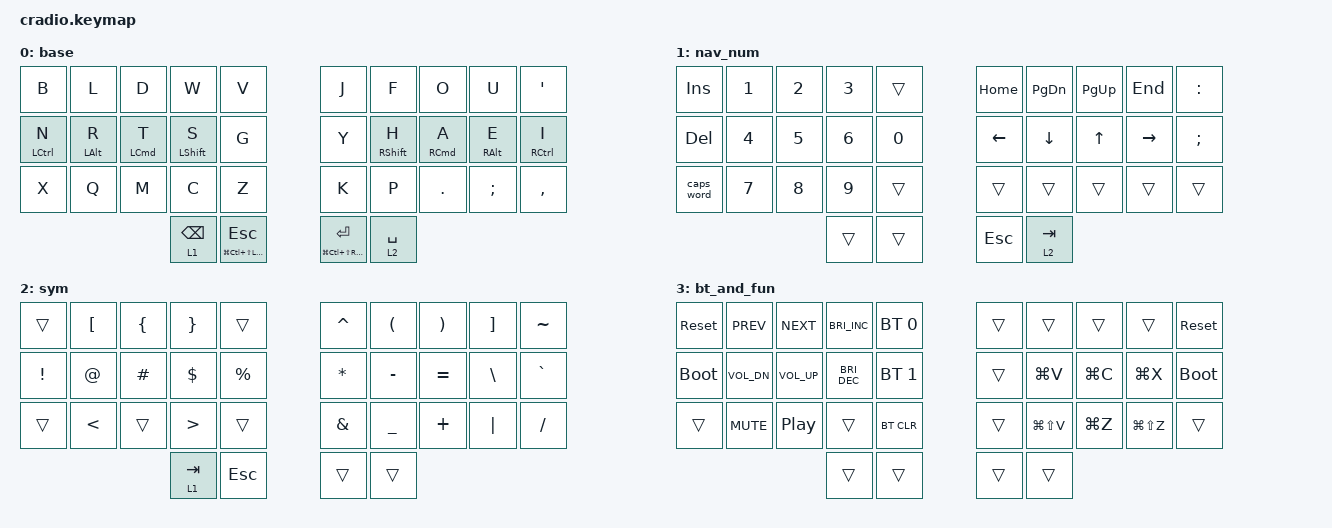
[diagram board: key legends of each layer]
// Copyright (c) 2022 The ZMK Contributors
// SPDX-License-Identifier: MIT

#include <behaviors.dtsi>
#include <dt-bindings/zmk/bt.h>
#include <dt-bindings/zmk/keys.h>

// Home row mods macro
// #define HRML(k1,k2,k3,k4) &ht LSHFT k1  &ht LALT k2  &ht LCTRL k3  &ht LGUI k4
// #define HRMR(k1,k2,k3,k4) &ht RGUI k1  &ht RCTRL k2  &ht RALT k3  &ht RSHFT k4

/ {
    behaviours {
        hm_l: homerow_mods_left {
            compatible = "zmk,behavior-hold-tap";
            #binding-cells = <2>;
            bindings = <&kp>, <&kp>;

            flavor = "balanced";
            tapping-term-ms = <280>;
            quick-tap-ms = <175>;
            require-prior-idle-ms = <150>;
            hold-trigger-key-positions = <13 14 15 16>;
            hold-trigger-on-release;
        };

        hm_r: homerow_mods_right {
            compatible = "zmk,behavior-hold-tap";
            #binding-cells = <2>;
            bindings = <&kp>, <&kp>;

            flavor = "balanced";
            tapping-term-ms = <280>;
            quick-tap-ms = <175>;
            require-prior-idle-ms = <150>;
            hold-trigger-key-positions = <20 21 22 23>;
            hold-trigger-on-release;
        };
    };

    behaviors {
    };

    combos {
        compatible = "zmk,combos";

        tab {
            bindings = <&kp TAB>;
            key-positions = <11 12>;
            layers = <0 2 1>;
            timeout-ms = <50>;
            require-prior-idle-ms = <0>;
        };
    };

    keymap {
        compatible = "zmk,keymap";

        base {
            bindings = <
&kp B                 &kp L             &kp D                 &kp W               &kp V                            &kp J                         &kp F                &kp O                  &kp U              &kp SQT
&hm_r LEFT_CONTROL N  &hm_l LEFT_ALT R  &hm_l LEFT_COMMAND T  &hm_l LEFT_SHIFT S  &kp G                            &kp Y                         &hm_r RIGHT_SHIFT H  &hm_r RIGHT_COMMAND A  &hm_r RIGHT_ALT E  &hm_r RIGHT_CONTROL I
&kp X                 &kp Q             &kp M                 &kp C               &kp Z                            &kp K                         &kp P                &kp DOT                &kp SEMI           &kp COMMA
                                                              &lt 1 BSPC          &hm_l LG(LC(LS(LALT))) ESCAPE    &hm_r LG(LC(LS(RALT))) ENTER  &lt 2 SPACE
            >;
        };

        nav_num {
            bindings = <
&kp INS     &kp N1  &kp N2  &kp N3  &trans    &kp HOME    &kp PG_DN  &kp PG_UP  &kp END    &kp COLON
&kp DEL     &kp N4  &kp N5  &kp N6  &kp N0    &kp LEFT    &kp DOWN   &kp UP     &kp RIGHT  &kp SEMI
&caps_word  &kp N7  &kp N8  &kp N9  &trans    &trans      &trans     &trans     &trans     &trans
                            &trans  &trans    &kp ESCAPE  &lt 2 TAB
            >;
        };

        sym {
            bindings = <
&trans    &kp LBKT       &kp LBRC  &kp RBRC          &trans        &kp CARET  &kp LPAR   &kp RPAR   &kp RBKT  &kp TILDE
&kp EXCL  &kp AT         &kp HASH  &kp DLLR          &kp PRCNT     &kp ASTRK  &kp MINUS  &kp EQUAL  &kp BSLH  &kp GRAVE
&trans    &kp LESS_THAN  &trans    &kp GREATER_THAN  &trans        &kp AMPS   &kp UNDER  &kp PLUS   &kp PIPE  &kp SLASH
                                   &lt 1 TAB         &kp ESCAPE    &trans     &trans
            >;
        };

        bt_and_fun {
            bindings = <
&sys_reset   &kp C_PREV    &kp C_NEXT        &kp C_BRIGHTNESS_INC  &bt BT_SEL 0    &trans  &trans         &trans     &trans         &sys_reset
&bootloader  &kp C_VOL_DN  &kp C_VOLUME_UP   &kp C_BRIGHTNESS_DEC  &bt BT_SEL 1    &trans  &kp LG(V)      &kp LG(C)  &kp LG(X)      &bootloader
&trans       &kp C_MUTE    &kp C_PLAY_PAUSE  &trans                &bt BT_CLR      &trans  &kp LG(LS(V))  &kp LG(Z)  &kp LG(LS(Z))  &trans
                                             &trans                &trans          &trans  &trans
            >;
        };
    };

    conditional_layers {
        compatible = "zmk,conditional-layers";

        layer1+layer2 {
            if-layers = <1 2>;
            then-layer = <3>;
        };
    };
};
